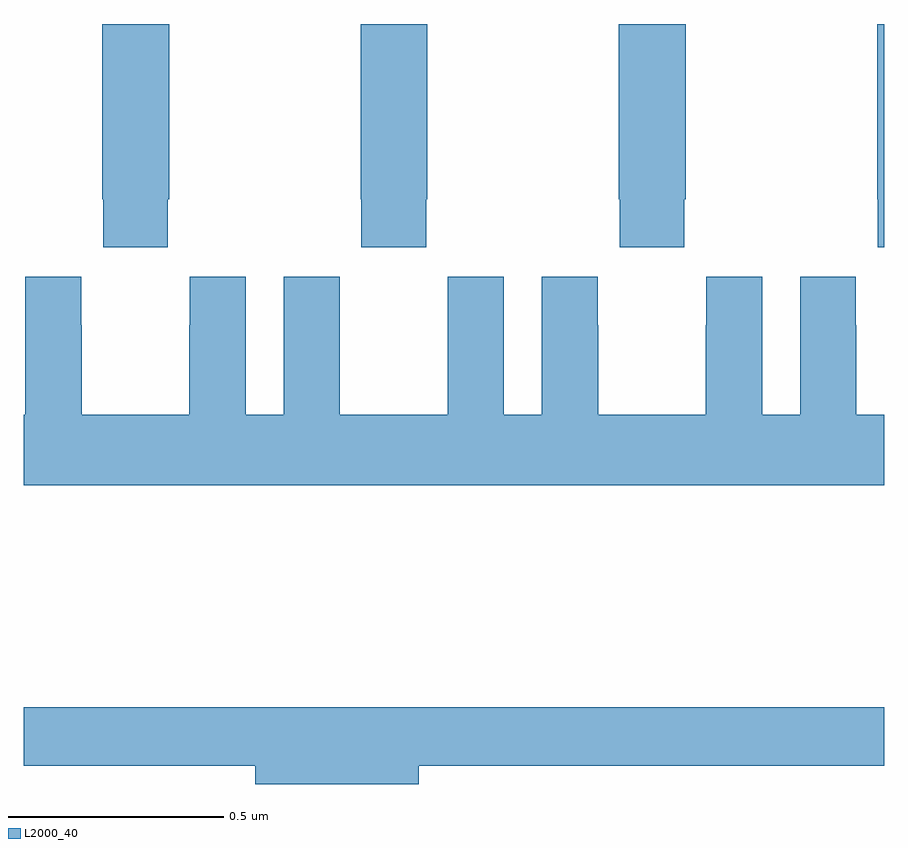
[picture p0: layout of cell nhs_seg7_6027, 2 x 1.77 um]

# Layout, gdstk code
import gdstk
lib = gdstk.Library(unit=1e-6, precision=1e-09)
def P(c, l, *ps):  # polygons
    for p in ps: c.add(gdstk.Polygon(p, *l))
L2000_40 = (2000, 40)

nhs_seg7_6027 = lib.new_cell('nhs_seg7_6027')
P(nhs_seg7_6027, L2000_40, [(193.335,1022.593),(193.338,1022.593),(193.338,1023),(193.183,1023),(193.183,1022.593),(193.185,1022.593),(193.185,1022.481),(193.335,1022.481)],
  [(193.935,1022.593),(193.938,1022.593),(193.938,1023),(193.783,1023),(193.783,1022.593),(193.785,1022.593),(193.785,1022.481),(193.935,1022.481)],
  [(194.535,1022.593),(194.538,1022.593),(194.538,1023),(194.383,1023),(194.383,1022.593),(194.385,1022.593),(194.385,1022.481),(194.535,1022.481)],
  [(195,1023),(194.983,1023),(194.983,1022.593),(194.985,1022.593),(194.985,1022.481),(195,1022.481)],
  [(195,1022.092),(194.935,1022.092),(194.935,1022.3),(194.934,1022.3),(194.934,1022.413),(194.804,1022.413),(194.804,1022.092),(194.716,1022.092),(194.716,1022.413),(194.586,1022.413),(194.586,1022.3),(194.585,1022.3),(194.585,1022.092),(194.335,1022.092),(194.335,1022.3),(194.334,1022.3),(194.334,1022.413),(194.204,1022.413),(194.204,1022.092),(194.116,1022.092),(194.116,1022.413),(193.986,1022.413),(193.986,1022.3),(193.985,1022.3),(193.985,1022.092),(193.735,1022.092),(193.735,1022.3),(193.734,1022.3),(193.734,1022.413),(193.604,1022.413),(193.604,1022.092),(193.516,1022.092),(193.516,1022.413),(193.386,1022.413),(193.386,1022.3),(193.385,1022.3),(193.385,1022.092),(193.135,1022.092),(193.135,1022.3),(193.134,1022.3),(193.134,1022.413),(193.004,1022.413),(193.004,1022.092),(193,1022.092),(193,1021.928),(195,1021.928)],
  [(193.918,1021.276),(195,1021.276),(195,1021.412),(193,1021.412),(193,1021.276),(193.538,1021.276),(193.538,1021.234),(193.918,1021.234)])

lib.write_gds('nhs_seg7_6027.gds')
